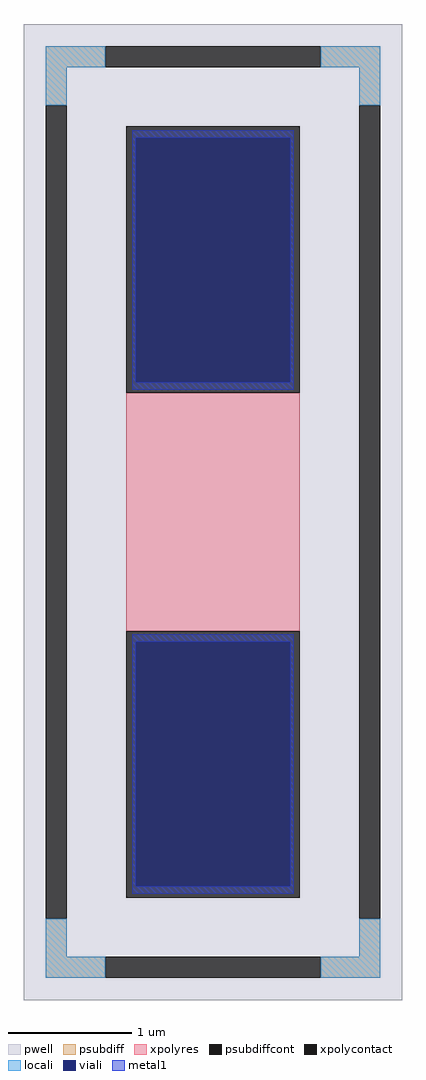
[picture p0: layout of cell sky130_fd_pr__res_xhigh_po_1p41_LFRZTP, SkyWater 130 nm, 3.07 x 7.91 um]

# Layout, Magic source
magic
tech sky130A
magscale 1 2
<< pwell >>
rect -307 -791 307 791
<< psubdiff >>
rect -271 721 -175 755
rect 175 721 271 755
rect -271 659 -237 721
rect 237 659 271 721
rect -271 -721 -237 -659
rect 237 -721 271 -659
rect -271 -755 -175 -721
rect 175 -755 271 -721
<< psubdiffcont >>
rect -175 721 175 755
rect -271 -659 -237 659
rect 237 -659 271 659
rect -175 -755 175 -721
<< xpolycontact >>
rect -141 193 141 625
rect -141 -625 141 -193
<< xpolyres >>
rect -141 -193 141 193
<< locali >>
rect -271 721 -175 755
rect 175 721 271 755
rect -271 659 -237 721
rect 237 659 271 721
rect -271 -721 -237 -659
rect 237 -721 271 -659
rect -271 -755 -175 -721
rect 175 -755 271 -721
<< viali >>
rect -125 210 125 607
rect -125 -607 125 -210
<< metal1 >>
rect -131 607 131 619
rect -131 210 -125 607
rect 125 210 131 607
rect -131 198 131 210
rect -131 -210 131 -198
rect -131 -607 -125 -210
rect 125 -607 131 -210
rect -131 -619 131 -607
<< properties >>
string FIXED_BBOX -254 -738 254 738
string gencell sky130_fd_pr__res_xhigh_po_1p41
string library sky130
string parameters w 1.410 l 2.091 m 1 nx 1 wmin 1.410 lmin 0.50 rho 2000 val 3.232k dummy 0 dw 0.0 term 188.2 sterm 0.0 caplen 0 wmax 1.410 guard 1 glc 1 grc 1 gtc 1 gbc 1 compatible {sky130_fd_pr__res_xhigh_po_0p35  sky130_fd_pr__res_xhigh_po_0p69 sky130_fd_pr__res_xhigh_po_1p41  sky130_fd_pr__res_xhigh_po_2p85 sky130_fd_pr__res_xhigh_po_5p73} snake 0 full_metal 1 n_guard 0 hv_guard 0 vias 1 viagb 0 viagt 0 viagl 0 viagr 0
<< end >>
